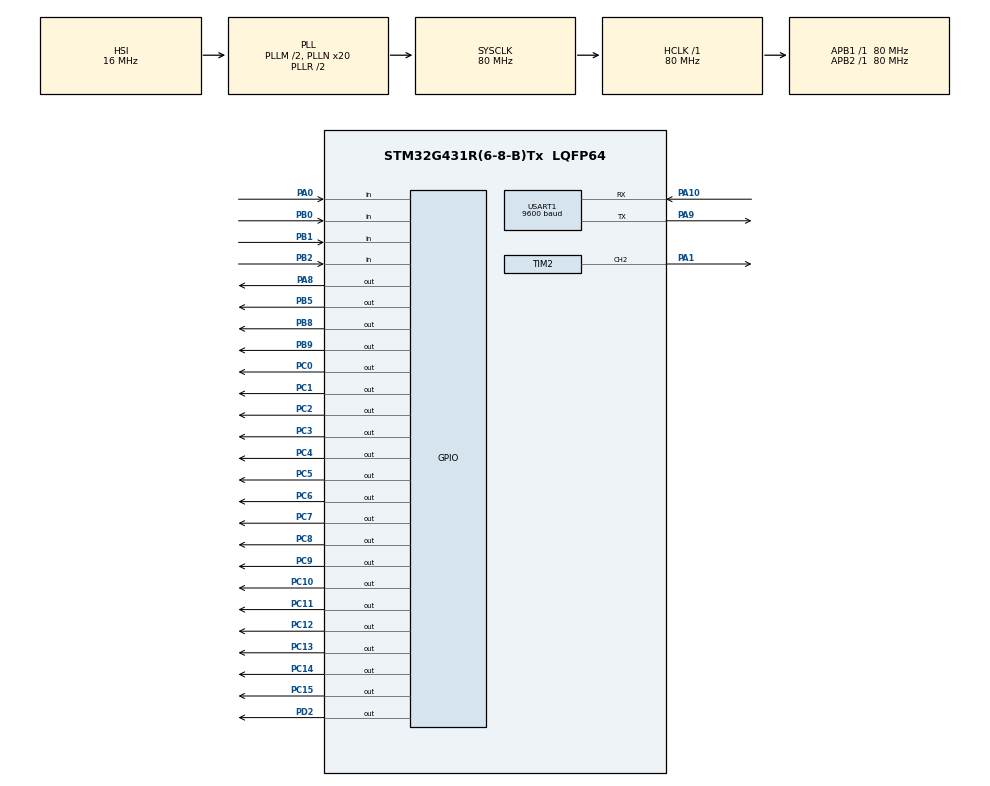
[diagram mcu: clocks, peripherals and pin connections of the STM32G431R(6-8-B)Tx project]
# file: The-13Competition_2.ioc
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Mcu.Family=STM32G4
Mcu.Name=STM32G431R(6-8-B)Tx
Mcu.Package=LQFP64
NVIC.PriorityGroup=NVIC_PRIORITYGROUP_4
NVIC.TIM2_IRQn=true\:0\:0\:false\:false\:true\:true\:true\:true
NVIC.TIM3_IRQn=true\:0\:0\:false\:false\:true\:true\:true\:true
NVIC.USART1_IRQn=true\:0\:0\:false\:false\:true\:true\:true\:true
PA0.Signal=GPIO_Input
PA1.Signal=S_TIM2_CH2
PA10.Mode=Asynchronous
PA10.Signal=USART1_RX
PA8.Signal=GPIO_Output
PA9.Mode=Asynchronous
PA9.Signal=USART1_TX
PB0.Signal=GPIO_Input
PB1.Signal=GPIO_Input
PB2.Signal=GPIO_Input
PB5.Signal=GPIO_Output
PB8-BOOT0.Signal=GPIO_Output
PB9.Signal=GPIO_Output
PC0.Signal=GPIO_Output
PC1.Signal=GPIO_Output
PC10.Signal=GPIO_Output
PC11.Signal=GPIO_Output
PC12.Signal=GPIO_Output
PC13.Signal=GPIO_Output
PC14-OSC32_IN.Signal=GPIO_Output
PC15-OSC32_OUT.Signal=GPIO_Output
PC2.Signal=GPIO_Output
PC3.Signal=GPIO_Output
PC4.Signal=GPIO_Output
PC5.Signal=GPIO_Output
PC6.Signal=GPIO_Output
PC7.Signal=GPIO_Output
PC8.Signal=GPIO_Output
PC9.Signal=GPIO_Output
PD2.Signal=GPIO_Output
PF0-OSC_IN.Mode=HSE-External-Oscillator
PF0-OSC_IN.Signal=RCC_OSC_IN
PF1-OSC_OUT.Mode=HSE-External-Oscillator
PF1-OSC_OUT.Signal=RCC_OSC_OUT
ProjectManager.HeapSize=0x200
ProjectManager.StackSize=0x400
ProjectManager.TargetToolchain=MDK-ARM V5
RCC.ADC12Freq_Value=80000000
RCC.AHBFreq_Value=80000000
RCC.APB1Freq_Value=80000000
RCC.APB1TimFreq_Value=80000000
RCC.APB2Freq_Value=80000000
RCC.APB2TimFreq_Value=80000000
RCC.CortexFreq_Value=80000000
RCC.EXTERNAL_CLOCK_VALUE=12288000
RCC.HCLKFreq_Value=80000000
RCC.HSE_VALUE=24000000
RCC.HSI48_VALUE=48000000
RCC.HSI_VALUE=16000000
RCC.LSE_VALUE=32768
RCC.PLLM=RCC_PLLM_DIV2
RCC.PLLN=20
RCC.SYSCLKFreq_VALUE=80000000
RCC.SYSCLKSource=RCC_SYSCLKSOURCE_PLLCLK
RCC.USBFreq_Value=80000000
RCC.VCOOutputFreq_Value=160000000
SH.S_TIM2_CH2.0=TIM2_CH2,PWM Generation2 CH2
TIM2.Channel-PWM\ Generation2\ CH2=TIM_CHANNEL_2
TIM2.PeriodNoDither=999
TIM2.Prescaler=79
TIM2.PulseNoDither_2=499
TIM3.PeriodNoDither=10000-1
TIM3.Prescaler=719
USART1.BaudRate=9600
USART1.VirtualMode-Asynchronous=VM_ASYNC
VP_SYS_VS_DBSignals.Mode=DisableDeadBatterySignals
VP_TIM3_VS_ClockSourceINT.Mode=Internal
board=custom

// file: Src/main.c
/* USER CODE BEGIN Header */
/**
  ******************************************************************************
  * @file           : main.c
  * @brief          : Main program body
  ******************************************************************************
  * @attention
  *
  * <h2><center>&copy; Copyright (c) 2021 STMicroelectronics.
  * All rights reserved.</center></h2>
  *
  * This software component is licensed by ST under BSD 3-Clause license,
  * the "License"; You may not use this file except in compliance with the
  * License. You may obtain a copy of the License at:
  *                        opensource.org/licenses/BSD-3-Clause
  *
  ******************************************************************************
  */
/* USER CODE END Header */

#include "main.h"
#include "tim.h"
#include "usart.h"
#include "gpio.h"

/* USER CODE BEGIN Includes */
#include "key.h"
#include "led.h"
#include "string.h"
#include "stdio.h"
#include "i2c_hal.h"
/* USER CODE END Includes */

void SystemClock_Config(void);

/* USER CODE BEGIN 0 */
u8 Uart_buff,RxBuffer[20],Tx,Rx_cnt ;
u8 Display_Flag = 0;
u8 Ctrl ;
typedef struct
{
	u8 Last ;
	u8 Now ;
}BaseData;

typedef struct
{
    u32 Num ;
	double Price ;
	u32 ALL ;

	u8 Key ;
}SHOP;
SHOP Shop_X ;
SHOP Shop_Y ;
__IO uint32_t KeyTick = 0 ;

char RX_BUFF[20] ;
__IO uint32_t UartTick = 0 ;
void Juge_Uart(void)
{
	if(uwTick - UartTick < 200) return ;
	UartTick = uwTick ;

	if(Uart_buff == '?')
	{
		sprintf((char *)RX_BUFF,"X:%.1f,Y:%.1f",Shop_X.Price,Shop_Y.Price) ;
		HAL_UART_Transmit(&huart1,(u8 *)RX_BUFF,strlen(RX_BUFF),50) ;
		goto Clear ;
	}
	else goto Clear ;
	Clear:
	      Uart_buff = '\0' ;
}
u8 ENFlag = 0 ;
u8 Alerm_Flag = 0 ;
u8 Display = 0 ;
void Key_Process(void)
{
	if(uwTick - KeyTick<10) return ;
	KeyTick = uwTick ;

	Key_Read() ;

	if(Trg & 0x01)
	{
		Display += 1 ;
		if(Display == 3) Display = 0 ;
	}
	if(Trg & 0x02)
	{
		if(Display == 0)
		{
			Shop_X.Num += 1 ;
			if(Shop_X.Num > Shop_X.ALL) Shop_X.Num = 0 ;
		}
		if(Display == 1)
		{
			Shop_X.Price = (Shop_X.Price + 0.1) ;
			if(Shop_X.Price > 2.1) Shop_X.Price = 1.0 ;

			EEPROM_Write(2,Shop_X.Price*10) ;
		}
		if(Display == 2)
		{
			Shop_X.ALL += 1 ;
			EEPROM_Write(0,Shop_X.ALL) ;
		}
	}
	if(Trg & 0x04)
	{
		if(Display == 0)
		{
			Shop_Y.Num += 1 ;
			if(Shop_Y.Num > Shop_Y.ALL) Shop_Y.Num = 0 ;
		}
		if(Display == 1)
		{
			Shop_Y.Price = (Shop_Y.Price + 0.1) ;
			if(Shop_Y.Price > 2.1) Shop_Y.Price = 1.0 ;

			EEPROM_Write(3, Shop_Y.Price*10) ;
		}
		if(Display == 2)
		{
			Shop_Y.ALL += 1 ;
			EEPROM_Write(1,Shop_Y.ALL) ;
		}
	}

	if(Trg & 0x08)
	{
		char buff[20] ;
		Shop_X.ALL -= Shop_X.Num ;
		Shop_Y.ALL -= Shop_Y.Num ;
		EEPROM_Write(1,Shop_Y.ALL) ;
		EEPROM_Write(0,Shop_X.ALL) ;
		Display_Flag = 1 ;

		if((Shop_X.ALL == 0) && (Shop_Y.ALL == 0)) Alerm_Flag = 1 ;

		sprintf((char *)buff,"X:%d,Y:%d,Z:%.1f",Shop_X.Num,Shop_Y.Num,((Shop_X.Num*Shop_X.Price)+(Shop_Y.Num*Shop_Y.Price))) ;
		HAL_UART_Transmit(&huart1,(u8 *)buff,strlen(buff),50) ;
		Shop_X.Num = 0 ;
		Shop_Y.Num = 0 ;
	}

}

void SHOP_Show(void)
{
	u8 Display_buff[20] ;

	LCD_DisplayStringLine(Line1,(unsigned char*)"        SHOP          ") ;

	sprintf((char*)Display_buff,"     X:%d    ",Shop_X.Num);
	LCD_DisplayStringLine(Line3,Display_buff) ;

	sprintf((char*)Display_buff,"     Y:%d    ",Shop_Y.Num);
	LCD_DisplayStringLine(Line4,Display_buff) ;

}

void PRICE_Show(void)
{
	u8 Display_buff[20] ;
	LCD_DisplayStringLine(Line1,(unsigned char*)"        PRICE         ") ;

	sprintf((char*)Display_buff,"     X:%.1f      ",Shop_X.Price);
	LCD_DisplayStringLine(Line3,Display_buff) ;

	sprintf((char*)Display_buff,"     Y:%.1f      ",Shop_Y.Price);
	LCD_DisplayStringLine(Line4,Display_buff) ;

}

void REP_Show(void)
{
	u8 Display_buff[20] ;
	LCD_DisplayStringLine(Line1,(unsigned char*)"        REP          ") ;

	sprintf((char*)Display_buff,"     X:%d      ",Shop_X.ALL);
	LCD_DisplayStringLine(Line3,Display_buff) ;

	sprintf((char*)Display_buff,"     Y:%d      ",Shop_Y.ALL);
	LCD_DisplayStringLine(Line4,Display_buff) ;

}
void Display_Show(void)
{
	if(Display == 0 ) SHOP_Show() ;
	if(Display == 1 ) PRICE_Show() ;
	if(Display == 2 ) REP_Show() ;

}
/* USER CODE END 0 */

int main(void)
{

  /* MCU Configuration--------------------------------------------------------*/

  /* Reset of all peripherals, Initializes the Flash interface and the Systick. */
  HAL_Init();

  /* Configure the system clock */
  SystemClock_Config();

  /* Initialize all configured peripherals */
  MX_GPIO_Init();
  MX_TIM2_Init();
  MX_USART1_UART_Init();
  MX_TIM3_Init();
  /* USER CODE BEGIN 2 */
	HAL_UART_Receive_IT(&huart1,&Uart_buff,1) ;
	HAL_TIM_PWM_Start(&htim2,TIM_CHANNEL_2) ;
	HAL_TIM_Base_Start_IT(&htim3) ;
	TIM2->ARR = 499 ;
	TIM2->CCR2 = 25 ;

	Shop_X.Num = 0 ;
	Shop_Y.Num = 0 ;
	I2CInit() ;

	if((EEPROM_Read(11) != 11) && (EEPROM_Read(22) != 22))
	{
		Shop_X.ALL = 10 ;
		Shop_Y.ALL = 10 ;
		Shop_X.Price = 1.0 ;
		Shop_Y.Price = 1.0 ;

		EEPROM_Write(0,10) ;
		EEPROM_Write(1,10) ;
		EEPROM_Write(2,10) ;
		EEPROM_Write(3,10) ;

		EEPROM_Write(11,11);
		EEPROM_Write(22,22);
	}
	else
	{
		Shop_X.ALL = EEPROM_Read(0) ;
		Shop_Y.ALL = EEPROM_Read(1) ;
		Shop_X.Price = EEPROM_Read(2)/10.f ;
		Shop_Y.Price = EEPROM_Read(3)/10.f ;

	}
	LCD_Init();
	LED_Control(0x00) ;

  /* USER CODE END 2 */

  /* Infinite loop */
  /* USER CODE BEGIN WHILE */

	LCD_Clear(Black);
	LCD_SetBackColor(Black);
	LCD_SetTextColor(White);

  while (1)
  {
    /* USER CODE END WHILE */

    /* USER CODE BEGIN 3 */
	  Juge_Uart() ;
	  Display_Show() ;
	  Key_Process() ;
  }
  /* USER CODE END 3 */
}

void SystemClock_Config(void)
{
  RCC_OscInitTypeDef RCC_OscInitStruct = {0};
  RCC_ClkInitTypeDef RCC_ClkInitStruct = {0};
  RCC_PeriphCLKInitTypeDef PeriphClkInit = {0};

  /** Configure the main internal regulator output voltage
  */
  HAL_PWREx_ControlVoltageScaling(PWR_REGULATOR_VOLTAGE_SCALE1);
  /** Initializes the CPU, AHB and APB busses clocks
  */
  RCC_OscInitStruct.OscillatorType = RCC_OSCILLATORTYPE_HSI;
  RCC_OscInitStruct.HSIState = RCC_HSI_ON;
  RCC_OscInitStruct.HSICalibrationValue = RCC_HSICALIBRATION_DEFAULT;
  RCC_OscInitStruct.PLL.PLLState = RCC_PLL_ON;
  RCC_OscInitStruct.PLL.PLLSource = RCC_PLLSOURCE_HSI;
  RCC_OscInitStruct.PLL.PLLM = RCC_PLLM_DIV2;
  RCC_OscInitStruct.PLL.PLLN = 20;
  RCC_OscInitStruct.PLL.PLLP = RCC_PLLP_DIV2;
  RCC_OscInitStruct.PLL.PLLQ = RCC_PLLQ_DIV2;
  RCC_OscInitStruct.PLL.PLLR = RCC_PLLR_DIV2;
  if (HAL_RCC_OscConfig(&RCC_OscInitStruct) != HAL_OK)
  {
    Error_Handler();
  }
  /** Initializes the CPU, AHB and APB busses clocks
  */
  RCC_ClkInitStruct.ClockType = RCC_CLOCKTYPE_HCLK|RCC_CLOCKTYPE_SYSCLK
                              |RCC_CLOCKTYPE_PCLK1|RCC_CLOCKTYPE_PCLK2;
  RCC_ClkInitStruct.SYSCLKSource = RCC_SYSCLKSOURCE_PLLCLK;
  RCC_ClkInitStruct.AHBCLKDivider = RCC_SYSCLK_DIV1;
  RCC_ClkInitStruct.APB1CLKDivider = RCC_HCLK_DIV1;
  RCC_ClkInitStruct.APB2CLKDivider = RCC_HCLK_DIV1;

  if (HAL_RCC_ClockConfig(&RCC_ClkInitStruct, FLASH_LATENCY_3) != HAL_OK)
  {
    Error_Handler();
  }
  /** Initializes the peripherals clocks
  */
  PeriphClkInit.PeriphClockSelection = RCC_PERIPHCLK_USART1;
  PeriphClkInit.Usart1ClockSelection = RCC_USART1CLKSOURCE_PCLK2;
  if (HAL_RCCEx_PeriphCLKConfig(&PeriphClkInit) != HAL_OK)
  {
    Error_Handler();
  }
}

/* USER CODE BEGIN 4 */
void HAL_UART_RxCpltCallback(UART_HandleTypeDef *huart)
{
	RxBuffer[Rx_cnt++] = Uart_buff ;

	HAL_UART_Receive_IT(&huart1,&Uart_buff,1) ;
}
u8 i = 0 ;
u8 x = 0 ;
u8 Flash_Flag = 0 ;
void HAL_TIM_PeriodElapsedCallback(TIM_HandleTypeDef *htim)
{
	if(htim->Instance == TIM3)
	{
		if(Display_Flag == 1)
		{
			TIM2->CCR2 = 150 ;
			Ctrl |= 0x01 ;
			i++ ;
			if(i == 50)
			{
				i = 0 ;
				Display_Flag = 0 ;
			    Ctrl &= ~0x01 ;
				TIM2->CCR2 = 25 ;
			}
		}

		if(Alerm_Flag)
		{
			x++ ;
			if(x == 50)
			{
				x = 0 ;
				Alerm_Flag = 0 ;
				Ctrl &= ~0x02 ;
			}
			else
			{
				if(!Flash_Flag)
				{
					Ctrl |= 0x02 ;
					Flash_Flag = 1 ;
				}
				else
				{
					Ctrl &= ~0x02 ;
					Flash_Flag = 0 ;
				}
		    }
		}
		LED_Control(Ctrl) ;
	}
}

/* USER CODE END 4 */

void Error_Handler(void)
{
}

/************************ (C) COPYRIGHT STMicroelectronics *****END OF FILE****/
